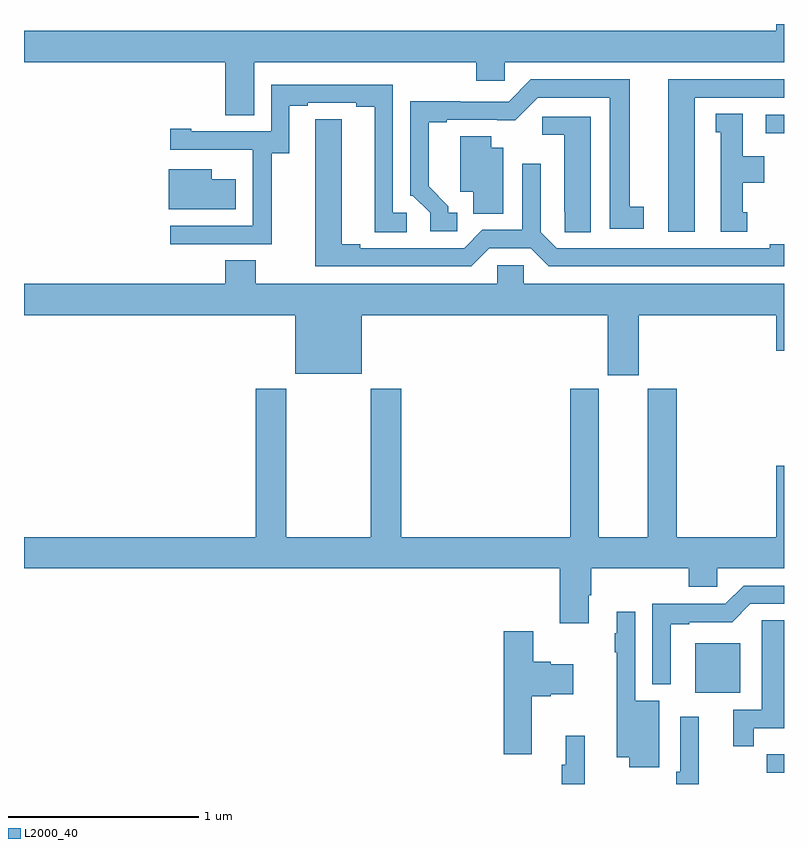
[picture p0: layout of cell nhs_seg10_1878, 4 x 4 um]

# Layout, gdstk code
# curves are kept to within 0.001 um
import gdstk
lib = gdstk.Library(unit=1e-6, precision=1e-09)
def R(c, l, rs):  # rectangles x0, y0, x1, y1
    for r in rs: c.add(gdstk.rectangle(r[:2], r[2:], *l))
def P(c, l, *ps):  # polygons
    for p in ps: c.add(gdstk.Polygon(p, *l))
L2000_40 = (2000, 40)

nhs_seg10_1878 = lib.new_cell('nhs_seg10_1878')
R(nhs_seg10_1878, L2000_40, [(212.91,1312.56,213,1312.656), (212.534,1312.979,212.77,1313.242), (212.904,1315.926,213,1316.022)])
P(nhs_seg10_1878, L2000_40, [(210.211,1316.3),(211.379,1316.3),(211.379,1316.202),(211.53,1316.202),(211.53,1316.3),(213,1316.3),(213,1316.5),(212.96,1316.5),(212.96,1316.464),(209,1316.464),(209,1316.3),(210.059,1316.3),(210.059,1316.02),(210.211,1316.02)],
  [(212.53,1316.112),(213,1316.112),(213,1316.208),(212.39,1316.208),(212.39,1315.407),(212.53,1315.407)],
  [(211.279,1315.506),(211.234,1315.506),(211.234,1315.541),(211.129,1315.646),(211.129,1315.983),(211.225,1315.983),(211.225,1315.995),(211.586,1315.994),(211.704,1316.112),(212.084,1316.112),(212.084,1315.422),(212.263,1315.422),(212.263,1315.538),(212.188,1315.538),(212.188,1316.208),(211.668,1316.208),(211.551,1316.091),(211.295,1316.091),(211.295,1316.093),(211.032,1316.093),(211.032,1315.596),(211.047,1315.596),(211.137,1315.506),(211.137,1315.41),(211.279,1315.41)],
  [(210.303,1315.819),(210.397,1315.819),(210.397,1316.07),(210.493,1316.07),(210.493,1316.085),(210.749,1316.085),(210.749,1316.065),(210.845,1316.065),(210.845,1315.405),(211.015,1315.405),(211.015,1315.506),(210.942,1315.506),(210.942,1316.181),(210.3,1316.181),(210.3,1315.935),(209.881,1315.935),(209.881,1315.948),(209.769,1315.948),(209.769,1315.839),(210.203,1315.839),(210.203,1315.838),(210.204,1315.838),(210.204,1315.437),(209.769,1315.437),(209.769,1315.341),(210.303,1315.341)],
  [(212.806,1315.509),(212.782,1315.509),(212.782,1315.664),(212.896,1315.664),(212.896,1315.804),(212.782,1315.804),(212.782,1316.027),(212.642,1316.027),(212.642,1315.929),(212.666,1315.929),(212.666,1315.407),(212.806,1315.407)],
  [(211.984,1316.013),(211.728,1316.013),(211.728,1315.916),(211.844,1315.916),(211.844,1315.513),(211.845,1315.513),(211.845,1315.405),(211.984,1315.405)],
  [(211.449,1315.32),(211.667,1315.32),(211.763,1315.224),(213,1315.224),(213,1315.34),(212.924,1315.34),(212.924,1315.32),(211.803,1315.32),(211.719,1315.404),(211.719,1315.765),(211.623,1315.765),(211.623,1315.416),(211.413,1315.416),(211.317,1315.32),(210.769,1315.32),(210.769,1315.34),(210.673,1315.34),(210.673,1316),(210.534,1316),(210.533,1315.224),(211.353,1315.224)],
  [(211.522,1315.849),(211.459,1315.849),(211.459,1315.91),(211.295,1315.91),(211.295,1315.616),(211.364,1315.616),(211.364,1315.501),(211.522,1315.501)],
  [(210.115,1315.684),(209.989,1315.684),(209.989,1315.735),(209.762,1315.735),(209.762,1315.526),(210.115,1315.526)],
  [(212.236,1314.968),(212.96,1314.968),(212.96,1314.78),(213,1314.78),(213,1315.132),(211.629,1315.132),(211.629,1315.23),(211.491,1315.23),(211.491,1315.132),(210.219,1315.132),(210.219,1315.256),(210.059,1315.256),(210.059,1315.132),(209,1315.132),(209,1314.968),(210.428,1314.968),(210.428,1314.659),(210.778,1314.659),(210.778,1314.968),(212.072,1314.968),(212.072,1314.651),(212.236,1314.651)],
  [(211.972,1313.494),(211.985,1313.494),(211.985,1313.636),(212.498,1313.636),(212.498,1313.538),(212.649,1313.538),(212.649,1313.636),(213,1313.636),(213,1314.175),(212.96,1314.175),(212.96,1313.8),(212.435,1313.8),(212.435,1314.579),(212.282,1314.579),(212.282,1313.8),(212.026,1313.8),(212.026,1314.579),(211.874,1314.579),(211.874,1313.8),(210.986,1313.8),(210.986,1314.58),(210.826,1314.58),(210.826,1313.8),(210.381,1313.8),(210.381,1314.58),(210.221,1314.58),(210.221,1313.8),(209,1313.8),(209,1313.636),(211.82,1313.636),(211.82,1313.346),(211.972,1313.346)],
  [(212.404,1313.34),(212.5,1313.34),(212.5,1313.352),(212.727,1313.352),(212.823,1313.448),(213,1313.448),(213,1313.544),(212.787,1313.544),(212.691,1313.448),(212.307,1313.448),(212.307,1313.024),(212.404,1313.024)],
  [(212.344,1312.939),(212.217,1312.939),(212.217,1313.407),(212.12,1313.407),(212.12,1313.294),(212.109,1313.294),(212.109,1313.194),(212.119,1313.194),(212.119,1312.935),(212.12,1312.935),(212.12,1312.64),(212.186,1312.64),(212.186,1312.587),(212.344,1312.587)],
  [(212.84,1312.794),(213,1312.794),(213,1313.363),(212.883,1313.363),(212.883,1313.252),(212.882,1313.252),(212.882,1312.89),(212.732,1312.89),(212.732,1312.698),(212.84,1312.698)],
  [(211.672,1312.961),(211.773,1312.961),(211.773,1312.973),(211.891,1312.973),(211.891,1313.131),(211.773,1313.131),(211.773,1313.144),(211.68,1313.144),(211.68,1313.305),(211.526,1313.305),(211.526,1312.656),(211.672,1312.656)],
  [(212.552,1312.855),(212.454,1312.855),(212.454,1312.564),(212.434,1312.564),(212.434,1312.5),(212.552,1312.5)],
  [(211.95,1312.753),(211.85,1312.753),(211.85,1312.602),(211.831,1312.602),(211.831,1312.5),(211.95,1312.5)])

lib.write_gds('nhs_seg10_1878.gds')
